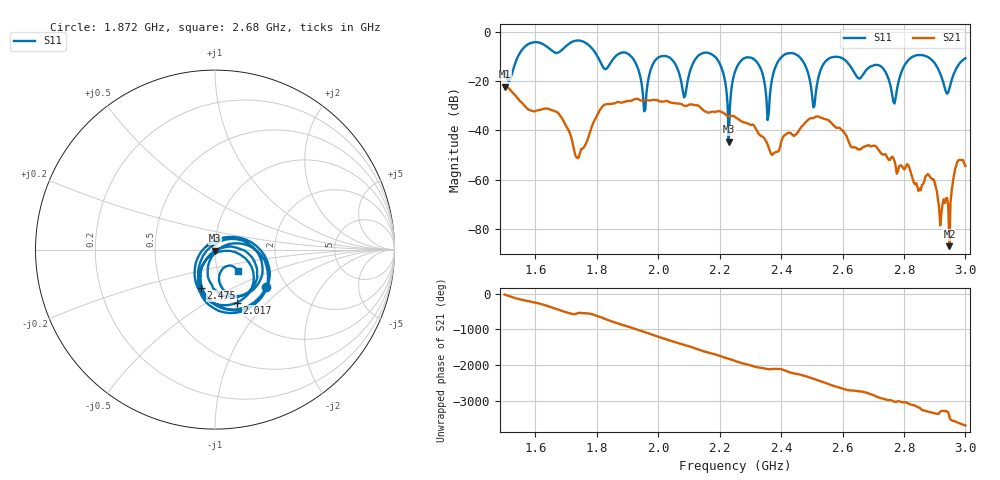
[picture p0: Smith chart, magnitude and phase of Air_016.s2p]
# HZ S RI R 50
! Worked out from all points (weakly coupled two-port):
!   404 points, 1.5 GHz to 3 GHz, reference 50 ohm
!   highest |S21| = -22.31 dB at 1.5 GHz (marker M1); lowest = -86.9 dB at 2.948 GHz (marker M2)
!   lowest |S11| = -44.6 dB at 2.23 GHz (marker M3), VSWR 1.01, Z = 50.1 - j0.585 ohm
!   |S11| at or under -10 dB: 2.183 GHz to 2.404 GHz (221.3 MHz wide, 9.65 % of centre); 2.457 GHz to 2.832 GHz (375 MHz wide, 14.2 % of centre); 2.872 GHz to end of sweep (the widest 3 of 7)
!   S12 and S22 are empty: the file has one direction only
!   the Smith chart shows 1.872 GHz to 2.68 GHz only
!   S11 on the Smith chart (normalised r, x): 1.872 GHz: 1.57, -0.76; 2.017 GHz: 1.04, -0.69; 2.475 GHz: 0.79, -0.35; 2.68 GHz: 1.25, -0.30
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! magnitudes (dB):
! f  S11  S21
! 1.5 GHz  -16.2  -22.3
! 1.753 GHz  -3.9  -47.5
! 1.872 GHz  -9.0  -28.6
! 1.954 GHz  -32.3  -27.9
! 2.002 GHz  -10.4  -28.2
! 2.017 GHz  -9.9  -28.4
! 2.084 GHz  -26.7  -30.0
! 2.181 GHz  -9.8  -32.5
! 2.23 GHz  -44.6  -34.3
! 2.252 GHz  -15.6  -34.7
! 2.315 GHz  -11.6  -38.8
! 2.356 GHz  -35.8  -45.7
! 2.401 GHz  -10.4  -44.5
! 2.475 GHz  -12.9  -37.4
! 2.501 GHz  -26.2  -35.1
! 2.561 GHz  -10.6  -36.6
! 2.68 GHz  -15.2  -46.3
! 2.751 GHz  -19.5  -52.0
! 2.859 GHz  -9.5  -62.1
! 2.948 GHz  -23.1  -86.9
! 2.974 GHz  -14.2  -52.7
! 3 GHz  -10.8  -54.5
